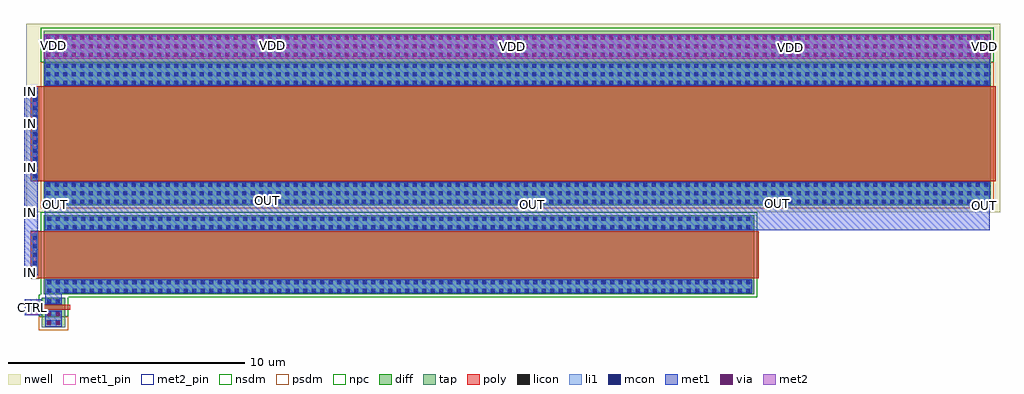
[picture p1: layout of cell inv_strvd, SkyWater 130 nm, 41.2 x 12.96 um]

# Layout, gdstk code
from math import pi, radians
import gdstk
lib = gdstk.Library(unit=1e-6, precision=1e-09)
def R(c, l, rs):  # rectangles x0, y0, x1, y1
    for r in rs: c.add(gdstk.rectangle(r[:2], r[2:], *l))
def A(c, l, x, y, w, h, nx, ny, dx, dy):  # array of equal rectangles
    R(c, l, [(x+i*dx, y+j*dy, x+i*dx+w, y+j*dy+h) for i in range(nx) for j in range(ny)])
nwell = (64, 20)
diff = (65, 20)
tap = (65, 44)
poly = (66, 20)
licon = (66, 44)
li1 = (67, 20)
mcon = (67, 44)
met1_pin = (68, 16)
met1 = (68, 20)
via = (68, 44)
met2_pin = (69, 16)
met2 = (69, 20)
nsdm = (93, 44)
psdm = (94, 20)
npc = (95, 20)

nfet_2 = lib.new_cell('nfet$2')
R(nfet_2, diff, [(0.125,0.2,0.925,1.2)])
R(nfet_2, tap, [(0.925,0.2,1.375,1.2)])
R(nfet_2, poly, [(0.425,0,0.625,1.4), (0.39,1.4,0.66,1.73)])
R(nfet_2, licon, [(0.19,0.435,0.36,0.605), (0.69,0.435,0.86,0.605), (1.065,0.435,1.235,0.605), (0.19,0.795,0.36,0.965), (0.69,0.795,0.86,0.965), (1.065,0.795,1.235,0.965), (0.44,1.48,0.61,1.65)])
R(nfet_2, li1, [(0.19,0.355,0.36,1.045), (0.69,0.355,0.86,1.045), (1.065,0.355,1.235,1.045), (0.36,1.48,0.69,1.65)])
R(nfet_2, mcon, [(0.19,0.435,0.36,0.605), (0.69,0.435,0.86,0.605), (0.19,0.795,0.36,0.965), (0.69,0.795,0.86,0.965), (0.44,1.48,0.61,1.65)])
R(nfet_2, met1, [(0.16,0.375,0.39,1.025), (0.66,0.375,0.89,1.025), (0.34,1.45,0.71,1.68)])
R(nfet_2, nsdm, [(0,0.075,0.925,1.325)])
R(nfet_2, psdm, [(0.925,0.075,1.5,1.325)])
R(nfet_2, npc, [(0.38,1.39,0.67,1.74)])

nfet_1 = lib.new_cell('nfet$1')
R(nfet_1, diff, [(0.125,0.2,3.445,30.2)])
R(nfet_1, poly, [(0.785,0,2.785,30.4), (0.785,30.4,2.785,30.73)])
A(nfet_1, licon, 0.19, 0.355, 0.17, 0.17, 1, 83, 0, 0.36)
A(nfet_1, licon, 0.55, 0.355, 0.17, 0.17, 1, 83, 0, 0.36)
A(nfet_1, licon, 2.85, 0.355, 0.17, 0.17, 1, 83, 0, 0.36)
A(nfet_1, licon, 3.21, 0.355, 0.17, 0.17, 1, 83, 0, 0.36)
A(nfet_1, licon, 0.98, 30.48, 0.17, 0.17, 5, 1, 0.36, 0)
R(nfet_1, li1, [(0.19,0.275,0.72,30.125), (2.85,0.275,3.38,30.125), (0.9,30.48,2.67,30.65)])
A(nfet_1, mcon, 0.19, 0.355, 0.17, 0.17, 1, 83, 0, 0.36)
A(nfet_1, mcon, 0.55, 0.355, 0.17, 0.17, 1, 83, 0, 0.36)
A(nfet_1, mcon, 2.85, 0.355, 0.17, 0.17, 1, 83, 0, 0.36)
A(nfet_1, mcon, 3.21, 0.355, 0.17, 0.17, 1, 83, 0, 0.36)
A(nfet_1, mcon, 0.98, 30.48, 0.17, 0.17, 5, 1, 0.36, 0)
R(nfet_1, met1, [(0.16,0.295,0.75,30.105), (2.82,0.295,3.41,30.105), (0.92,30.45,2.65,30.68)])
R(nfet_1, nsdm, [(0,0.075,3.57,30.325)])
R(nfet_1, npc, [(0.775,30.39,2.795,30.74)])

pfet = lib.new_cell('pfet')
R(pfet, nwell, [(0,0,7.975,41.1)])
R(pfet, diff, [(0.305,0.38,6.345,40.38)])
R(pfet, tap, [(6.345,0.38,7.67,40.38)])
R(pfet, poly, [(1.325,0.18,5.325,40.58), (1.325,40.58,5.325,40.91)])
A(pfet, licon, 0.37, 0.495, 0.17, 0.17, 3, 111, 0.36, 0.36)
A(pfet, licon, 5.39, 0.495, 0.17, 0.17, 3, 111, 0.36, 0.36)
A(pfet, licon, 6.565, 0.495, 0.17, 0.17, 3, 111, 0.36, 0.36)
A(pfet, licon, 1.44, 40.66, 0.17, 0.17, 11, 1, 0.36, 0)
R(pfet, li1, [(0.37,0.415,1.26,40.345), (5.39,0.415,6.28,40.345), (6.565,0.415,7.455,40.345), (1.36,40.66,5.29,40.83)])
A(pfet, mcon, 0.37, 0.495, 0.17, 0.17, 3, 111, 0.36, 0.36)
A(pfet, mcon, 5.39, 0.495, 0.17, 0.17, 3, 111, 0.36, 0.36)
A(pfet, mcon, 1.44, 40.66, 0.17, 0.17, 11, 1, 0.36, 0)
R(pfet, met1, [(0.34,0.435,1.29,40.325), (5.36,0.435,6.31,40.325), (1.38,40.63,5.27,40.86)])
R(pfet, nsdm, [(6.345,0.255,7.8,40.505)])
R(pfet, psdm, [(0.18,0.255,6.345,40.505)])
R(pfet, npc, [(1.315,40.57,5.335,40.92)])

inv_strvd = lib.new_cell('inv_strvd')
A(inv_strvd, mcon, 0.94, 11.545, 0.17, 0.17, 111, 3, 0.36, 0.36)
R(inv_strvd, mcon, [(0.98,0.265,1.15,0.435), (1.34,0.265,1.51,0.435)])
R(inv_strvd, met1_pin, [(0.094,0.688,0.674,1.253), (0,2.33,0.575,10.25), (0.88,4.23,40.77,6.27)])
R(inv_strvd, met1, [(0.9,0.15,1.59,0.84), (0.04,0.635,0.72,1.315), (0.9,1.11,1.59,2.16), (0,2.33,0.575,10.25), (0,2.33,0.575,10.25), (0.345,4.06,0.575,6.36), (0.88,4.23,40.77,6.27), (0.88,4.23,40.77,6.27), (0.88,11.29,40.77,12.48), (0.86,11.545,0.88,12.48), (40.77,11.545,40.79,12.48)])
A(inv_strvd, via, 0.95, 11.555, 0.15, 0.15, 111, 3, 0.36, 0.36)
R(inv_strvd, via, [(0.985,0.235,1.135,0.385), (1.355,0.235,1.505,0.385), (0.985,0.605,1.135,0.755), (1.355,0.605,1.505,0.755)])
R(inv_strvd, met2_pin, [(0.9,0.15,1.59,0.84), (0.865,11.47,40.785,12.51)])
R(inv_strvd, met2, [(0.865,11.47,40.785,12.51)])
inv_strvd.add(gdstk.Reference(nfet_2, (1.945,1.5), rotation=3*pi/2, x_reflection=True))
inv_strvd.add(gdstk.Reference(nfet_1, (31.025,1.41), rotation=pi/2))
inv_strvd.add(gdstk.Reference(pfet, (41.205,4.98), rotation=pi/2))
inv_strvd.add(gdstk.Label('CTRL', (0.379,0.978), layer=68, texttype=5))
inv_strvd.add(gdstk.Label('OUT', (40.57,5.265), layer=68, texttype=5))
inv_strvd.add(gdstk.Label('OUT', (1.33,5.335), layer=68, texttype=5))
inv_strvd.add(gdstk.Label('OUT', (21.48,5.325), layer=68, texttype=5))
inv_strvd.add(gdstk.Label('OUT', (31.815,5.36), layer=68, texttype=5))
inv_strvd.add(gdstk.Label('OUT', (10.27,5.505), layer=68, texttype=5))
inv_strvd.add(gdstk.Label('IN', (0.28,10.09), layer=68, texttype=5))
inv_strvd.add(gdstk.Label('IN', (0.275,2.455), layer=68, texttype=5))
inv_strvd.add(gdstk.Label('IN', (0.28,6.89), layer=68, texttype=5))
inv_strvd.add(gdstk.Label('IN', (0.28,8.725), layer=68, texttype=5))
inv_strvd.add(gdstk.Label('IN', (0.29,4.96), layer=68, texttype=5))
inv_strvd.add(gdstk.Label('VSS', (1.235,0.555), layer=69, texttype=5))
inv_strvd.add(gdstk.Label('VDD', (1.225,12.02), layer=69, texttype=5))
inv_strvd.add(gdstk.Label('VDD', (40.56,12.005), layer=69, texttype=5))
inv_strvd.add(gdstk.Label('VDD', (20.635,11.975), layer=69, texttype=5))
inv_strvd.add(gdstk.Label('VDD', (32.35,11.935), layer=69, texttype=5))
inv_strvd.add(gdstk.Label('VDD', (10.51,12.04), layer=69, texttype=5))

lib.write_gds('inv_strvd.gds')
